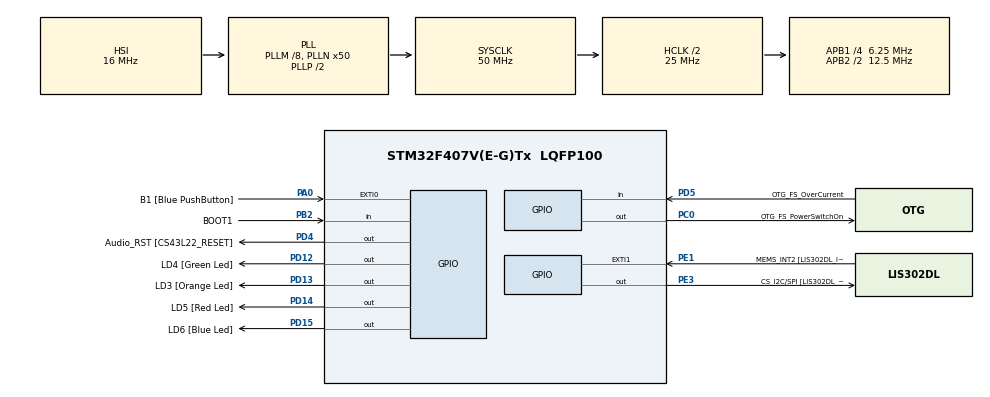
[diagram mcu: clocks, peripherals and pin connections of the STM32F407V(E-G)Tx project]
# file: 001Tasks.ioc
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Mcu.Family=STM32F4
Mcu.Name=STM32F407V(E-G)Tx
Mcu.Package=LQFP100
NVIC.PriorityGroup=NVIC_PRIORITYGROUP_4
NVIC.TIM6_DAC_IRQn=true\:0\:0\:false\:false\:true\:false\:true\:true
NVIC.TimeBase=TIM6_DAC_IRQn
NVIC.TimeBaseIP=TIM6
PA0-WKUP.GPIO_Label=B1 [Blue PushButton]
PA0-WKUP.Signal=GPXTI0
PA10.GPIO_Label=OTG_FS_ID
PA10.GPIO_Mode=GPIO_MODE_AF_PP
PA10.GPIO_PuPd=GPIO_NOPULL
PA10.GPIO_Speed=GPIO_SPEED_FREQ_LOW
PA10.Signal=USB_OTG_FS_ID
PA11.GPIO_Label=OTG_FS_DM
PA11.GPIO_Mode=GPIO_MODE_AF_PP
PA11.GPIO_PuPd=GPIO_NOPULL
PA11.GPIO_Speed=GPIO_SPEED_FREQ_LOW
PA11.Signal=USB_OTG_FS_DM
PA12.GPIO_Label=OTG_FS_DP
PA12.GPIO_Mode=GPIO_MODE_AF_PP
PA12.GPIO_PuPd=GPIO_NOPULL
PA12.GPIO_Speed=GPIO_SPEED_FREQ_LOW
PA12.Signal=USB_OTG_FS_DP
PA13.GPIO_Label=SWDIO
PA13.Signal=SYS_JTMS-SWDIO
PA14.GPIO_Label=SWCLK
PA14.Signal=SYS_JTCK-SWCLK
PA4.GPIO_Label=I2S3_WS [CS43L22_LRCK]
PA4.GPIO_Mode=GPIO_MODE_AF_PP
PA4.GPIO_PuPd=GPIO_NOPULL
PA4.GPIO_Speed=GPIO_SPEED_FREQ_LOW
PA4.Signal=I2S3_WS
PA5.GPIO_Label=SPI1_SCK [LIS302DL_SCL/SPC]
PA5.GPIO_Mode=GPIO_MODE_AF_PP
PA5.GPIO_PuPd=GPIO_NOPULL
PA5.GPIO_Speed=GPIO_SPEED_FREQ_LOW
PA5.Signal=SPI1_SCK
PA6.GPIO_Label=SPI1_MISO [LIS302DL_SDO]
PA6.GPIO_Mode=GPIO_MODE_AF_PP
PA6.GPIO_PuPd=GPIO_NOPULL
PA6.GPIO_Speed=GPIO_SPEED_FREQ_LOW
PA6.Signal=SPI1_MISO
PA7.GPIO_Label=SPI1_MOSI [LIS302DL_SDA/SDI/SDO]
PA7.GPIO_Mode=GPIO_MODE_AF_PP
PA7.GPIO_PuPd=GPIO_NOPULL
PA7.GPIO_Speed=GPIO_SPEED_FREQ_LOW
PA7.Signal=SPI1_MOSI
PA9.GPIO_Label=VBUS_FS
PA9.GPIO_Mode=GPIO_MODE_INPUT
PA9.GPIO_PuPd=GPIO_NOPULL
PA9.Signal=USB_OTG_FS_VBUS
PB10.GPIO_Label=CLK_IN [MP45DT02_CLK]
PB10.GPIO_Mode=GPIO_MODE_AF_PP
PB10.GPIO_PuPd=GPIO_NOPULL
PB10.GPIO_Speed=GPIO_SPEED_FREQ_LOW
PB10.Signal=I2S2_CK
PB2.GPIO_Label=BOOT1
PB2.GPIO_Mode=GPIO_MODE_INPUT
PB2.GPIO_PuPd=GPIO_NOPULL
PB2.Signal=GPIO_Input
PB3.GPIO_Label=SWO
PB3.Signal=SYS_JTDO-SWO
PB6.GPIO_Label=Audio_SCL [CS43L22_SCL]
PB6.GPIO_Mode=GPIO_MODE_AF_OD
PB6.GPIO_PuPd=GPIO_NOPULL
PB6.GPIO_Speed=GPIO_SPEED_FREQ_LOW
PB6.Signal=I2C1_SCL
PB9.GPIO_Label=Audio_SDA [CS43L22_SDA]
PB9.GPIO_Mode=GPIO_MODE_AF_OD
PB9.GPIO_PuPd=GPIO_NOPULL
PB9.GPIO_Speed=GPIO_SPEED_FREQ_LOW
PB9.Signal=I2C1_SDA
PC0.GPIO_Label=OTG_FS_PowerSwitchOn
PC0.GPIO_PuPd=GPIO_NOPULL
PC0.GPIO_Speed=GPIO_SPEED_FREQ_LOW
PC0.PinState=GPIO_PIN_SET
PC0.Signal=GPIO_Output
PC10.GPIO_Label=I2S3_SCK [CS43L22_SCLK]
PC10.GPIO_Mode=GPIO_MODE_AF_PP
PC10.GPIO_PuPd=GPIO_NOPULL
PC10.GPIO_Speed=GPIO_SPEED_FREQ_LOW
PC10.Signal=I2S3_CK
PC12.GPIO_Label=I2S3_SD [CS43L22_SDIN]
PC12.GPIO_Mode=GPIO_MODE_AF_PP
PC12.GPIO_PuPd=GPIO_NOPULL
PC12.GPIO_Speed=GPIO_SPEED_FREQ_LOW
PC12.Signal=I2S3_SD
PC14-OSC32_IN.GPIO_Label=PC14-OSC32_IN
PC14-OSC32_IN.Signal=RCC_OSC32_IN
PC15-OSC32_OUT.GPIO_Label=PC15-OSC32_OUT
PC15-OSC32_OUT.Signal=RCC_OSC32_OUT
PC3.GPIO_Label=PDM_OUT [MP45DT02_DOUT]
PC3.GPIO_Mode=GPIO_MODE_AF_PP
PC3.GPIO_PuPd=GPIO_NOPULL
PC3.GPIO_Speed=GPIO_SPEED_FREQ_LOW
PC3.Signal=I2S2_SD
PC7.GPIO_Label=I2S3_MCK [CS43L22_MCLK]
PC7.GPIO_Mode=GPIO_MODE_AF_PP
PC7.GPIO_PuPd=GPIO_NOPULL
PC7.GPIO_Speed=GPIO_SPEED_FREQ_LOW
PC7.Signal=I2S3_MCK
PD12.GPIO_Label=LD4 [Green Led]
PD12.GPIO_PuPd=GPIO_NOPULL
PD12.GPIO_Speed=GPIO_SPEED_FREQ_LOW
PD12.Signal=GPIO_Output
PD13.GPIO_Label=LD3 [Orange Led]
PD13.GPIO_PuPd=GPIO_NOPULL
PD13.GPIO_Speed=GPIO_SPEED_FREQ_LOW
PD13.Signal=GPIO_Output
PD14.GPIO_Label=LD5 [Red Led]
PD14.GPIO_PuPd=GPIO_NOPULL
PD14.GPIO_Speed=GPIO_SPEED_FREQ_LOW
PD14.Signal=GPIO_Output
PD15.GPIO_Label=LD6 [Blue Led]
PD15.GPIO_PuPd=GPIO_NOPULL
PD15.GPIO_Speed=GPIO_SPEED_FREQ_LOW
PD15.Signal=GPIO_Output
PD4.GPIO_Label=Audio_RST [CS43L22_RESET]
PD4.GPIO_PuPd=GPIO_NOPULL
PD4.GPIO_Speed=GPIO_SPEED_FREQ_LOW
PD4.Signal=GPIO_Output
PD5.GPIO_Label=OTG_FS_OverCurrent
PD5.GPIO_Mode=GPIO_MODE_INPUT
PD5.GPIO_PuPd=GPIO_NOPULL
PD5.Signal=GPIO_Input
PE1.GPIO_Label=MEMS_INT2 [LIS302DL_INT2]
PE1.GPIO_ModeDefaultEXTI=GPIO_MODE_EVT_RISING
PE1.GPIO_PuPd=GPIO_NOPULL
PE1.Signal=GPXTI1
PE3.GPIO_Label=CS_I2C/SPI [LIS302DL_CS_I2C/SPI]
PE3.GPIO_PuPd=GPIO_NOPULL
PE3.GPIO_Speed=GPIO_SPEED_FREQ_LOW
PE3.Signal=GPIO_Output
PH0-OSC_IN.GPIO_Label=PH0-OSC_IN
PH0-OSC_IN.Signal=RCC_OSC_IN
PH1-OSC_OUT.GPIO_Label=PH1-OSC_OUT
PH1-OSC_OUT.Signal=RCC_OSC_OUT
ProjectManager.HeapSize=0x200
ProjectManager.StackSize=0x400
ProjectManager.TargetToolchain=STM32CubeIDE
RCC.48MHZClocksFreq_Value=14285714.285714285
RCC.AHBCLKDivider=RCC_SYSCLK_DIV2
RCC.AHBFreq_Value=25000000
RCC.APB1CLKDivider=RCC_HCLK_DIV4
RCC.APB1Freq_Value=6250000
RCC.APB1TimFreq_Value=12500000
RCC.APB2CLKDivider=RCC_HCLK_DIV2
RCC.APB2Freq_Value=12500000
RCC.APB2TimFreq_Value=25000000
RCC.CortexFreq_Value=25000000
RCC.HCLKFreq_Value=25000000
RCC.HSE_VALUE=8000000
RCC.HSI_VALUE=16000000
RCC.LSE_VALUE=32768
RCC.PLLM=8
RCC.PLLN=50
RCC.PLLQ=7
RCC.SYSCLKFreq_VALUE=50000000
RCC.SYSCLKSource=RCC_SYSCLKSOURCE_PLLCLK
RCC.VCOOutputFreq_Value=100000000
VP_SYS_VS_tim6.Mode=TIM6
board=STM32F407G-DISC1

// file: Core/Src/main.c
/* USER CODE BEGIN Header */
/**
  ******************************************************************************
  * @file           : main.c
  * @brief          : Main program body
  ******************************************************************************
  * @attention
  *
  * Copyright (c) 2024 STMicroelectronics.
  * All rights reserved.
  *
  * This software is licensed under terms that can be found in the LICENSE file
  * in the root directory of this software component.
  * If no LICENSE file comes with this software, it is provided AS-IS.
  *
  ******************************************************************************
  */
/* USER CODE END Header */
#include "main.h"

/* USER CODE BEGIN Includes */
#include <stdio.h>
#include "FreeRTOS.h"
#include "task.h"
/* USER CODE END Includes */

/* USER CODE BEGIN PV */
#define DWT_CTRL		(*(volatile uint32_t*)(0xE0001000))
/* USER CODE END PV */

void SystemClock_Config(void);
static void MX_GPIO_Init(void);
/* USER CODE BEGIN PFP */
static void task1_handler(void* parameters);
static void task2_handler(void* parameters);
/* USER CODE END PFP */

int main(void)
{

  /* USER CODE BEGIN 1 */
  TaskHandle_t task1_handle;
  TaskHandle_t task2_handle;

  BaseType_t  stastus;
  /* USER CODE END 1 */

  /* MCU Configuration--------------------------------------------------------*/

  /* Reset of all peripherals, Initializes the Flash interface and the Systick. */
  HAL_Init();

  /* Configure the system clock */
  SystemClock_Config();

  /* Initialize all configured peripherals */
  MX_GPIO_Init();
  /* USER CODE BEGIN 2 */

  // Enable the CYCCNT counter
  DWT_CTRL |= (1 << 0);

  SEGGER_UART_init(500000);

  SEGGER_SYSVIEW_Conf();

  //SEGGER_SYSVIEW_Start();

  stastus = xTaskCreate(task1_handler, "Task-1", 200, "Hello World from Task-1", 2, &task1_handle);
  configASSERT(stastus == pdPASS);

  xTaskCreate(task2_handler, "Task-2", 200, "Hello World from Task-2", 2, &task2_handle);
  configASSERT(stastus == pdPASS);

  // start the freeRTOS scheduler
  vTaskStartScheduler();

  // if the control comes here, then the launch of the scheduler has failed due to
  // insufficient memory in the heap

  /* USER CODE END 2 */

  /* Infinite loop */
  while (1)
  {

  }
}

void SystemClock_Config(void)
{
  RCC_OscInitTypeDef RCC_OscInitStruct = {0};
  RCC_ClkInitTypeDef RCC_ClkInitStruct = {0};

  /** Configure the main internal regulator output voltage
  */
  __HAL_RCC_PWR_CLK_ENABLE();
  __HAL_PWR_VOLTAGESCALING_CONFIG(PWR_REGULATOR_VOLTAGE_SCALE1);

  /** Initializes the RCC Oscillators according to the specified parameters
  * in the RCC_OscInitTypeDef structure.
  */
  RCC_OscInitStruct.OscillatorType = RCC_OSCILLATORTYPE_HSI;
  RCC_OscInitStruct.HSIState = RCC_HSI_ON;
  RCC_OscInitStruct.HSICalibrationValue = RCC_HSICALIBRATION_DEFAULT;
  RCC_OscInitStruct.PLL.PLLState = RCC_PLL_ON;
  RCC_OscInitStruct.PLL.PLLSource = RCC_PLLSOURCE_HSI;
  RCC_OscInitStruct.PLL.PLLM = 8;
  RCC_OscInitStruct.PLL.PLLN = 50;
  RCC_OscInitStruct.PLL.PLLP = RCC_PLLP_DIV2;
  RCC_OscInitStruct.PLL.PLLQ = 7;
  if (HAL_RCC_OscConfig(&RCC_OscInitStruct) != HAL_OK)
  {
    Error_Handler();
  }

  /** Initializes the CPU, AHB and APB buses clocks
  */
  RCC_ClkInitStruct.ClockType = RCC_CLOCKTYPE_HCLK|RCC_CLOCKTYPE_SYSCLK
                              |RCC_CLOCKTYPE_PCLK1|RCC_CLOCKTYPE_PCLK2;
  RCC_ClkInitStruct.SYSCLKSource = RCC_SYSCLKSOURCE_PLLCLK;
  RCC_ClkInitStruct.AHBCLKDivider = RCC_SYSCLK_DIV2;
  RCC_ClkInitStruct.APB1CLKDivider = RCC_HCLK_DIV4;
  RCC_ClkInitStruct.APB2CLKDivider = RCC_HCLK_DIV2;

  if (HAL_RCC_ClockConfig(&RCC_ClkInitStruct, FLASH_LATENCY_0) != HAL_OK)
  {
    Error_Handler();
  }
}

static void MX_GPIO_Init(void)
{
  GPIO_InitTypeDef GPIO_InitStruct = {0};

  /* GPIO Ports Clock Enable */
  __HAL_RCC_GPIOE_CLK_ENABLE();
  __HAL_RCC_GPIOC_CLK_ENABLE();
  __HAL_RCC_GPIOH_CLK_ENABLE();
  __HAL_RCC_GPIOA_CLK_ENABLE();
  __HAL_RCC_GPIOB_CLK_ENABLE();
  __HAL_RCC_GPIOD_CLK_ENABLE();

  /*Configure GPIO pin Output Level */
  HAL_GPIO_WritePin(CS_I2C_SPI_GPIO_Port, CS_I2C_SPI_Pin, GPIO_PIN_RESET);

  /*Configure GPIO pin Output Level */
  HAL_GPIO_WritePin(OTG_FS_PowerSwitchOn_GPIO_Port, OTG_FS_PowerSwitchOn_Pin, GPIO_PIN_SET);

  /*Configure GPIO pin Output Level */
  HAL_GPIO_WritePin(GPIOD, LD4_Pin|LD3_Pin|LD5_Pin|LD6_Pin
                          |Audio_RST_Pin, GPIO_PIN_RESET);

  /*Configure GPIO pin : CS_I2C_SPI_Pin */
  GPIO_InitStruct.Pin = CS_I2C_SPI_Pin;
  GPIO_InitStruct.Mode = GPIO_MODE_OUTPUT_PP;
  GPIO_InitStruct.Pull = GPIO_NOPULL;
  GPIO_InitStruct.Speed = GPIO_SPEED_FREQ_LOW;
  HAL_GPIO_Init(CS_I2C_SPI_GPIO_Port, &GPIO_InitStruct);

  /*Configure GPIO pin : OTG_FS_PowerSwitchOn_Pin */
  GPIO_InitStruct.Pin = OTG_FS_PowerSwitchOn_Pin;
  GPIO_InitStruct.Mode = GPIO_MODE_OUTPUT_PP;
  GPIO_InitStruct.Pull = GPIO_NOPULL;
  GPIO_InitStruct.Speed = GPIO_SPEED_FREQ_LOW;
  HAL_GPIO_Init(OTG_FS_PowerSwitchOn_GPIO_Port, &GPIO_InitStruct);

  /*Configure GPIO pin : PDM_OUT_Pin */
  GPIO_InitStruct.Pin = PDM_OUT_Pin;
  GPIO_InitStruct.Mode = GPIO_MODE_AF_PP;
  GPIO_InitStruct.Pull = GPIO_NOPULL;
  GPIO_InitStruct.Speed = GPIO_SPEED_FREQ_LOW;
  GPIO_InitStruct.Alternate = GPIO_AF5_SPI2;
  HAL_GPIO_Init(PDM_OUT_GPIO_Port, &GPIO_InitStruct);

  /*Configure GPIO pin : B1_Pin */
  GPIO_InitStruct.Pin = B1_Pin;
  GPIO_InitStruct.Mode = GPIO_MODE_IT_RISING;
  GPIO_InitStruct.Pull = GPIO_NOPULL;
  HAL_GPIO_Init(B1_GPIO_Port, &GPIO_InitStruct);

  /*Configure GPIO pin : I2S3_WS_Pin */
  GPIO_InitStruct.Pin = I2S3_WS_Pin;
  GPIO_InitStruct.Mode = GPIO_MODE_AF_PP;
  GPIO_InitStruct.Pull = GPIO_NOPULL;
  GPIO_InitStruct.Speed = GPIO_SPEED_FREQ_LOW;
  GPIO_InitStruct.Alternate = GPIO_AF6_SPI3;
  HAL_GPIO_Init(I2S3_WS_GPIO_Port, &GPIO_InitStruct);

  /*Configure GPIO pins : SPI1_SCK_Pin SPI1_MISO_Pin SPI1_MOSI_Pin */
  GPIO_InitStruct.Pin = SPI1_SCK_Pin|SPI1_MISO_Pin|SPI1_MOSI_Pin;
  GPIO_InitStruct.Mode = GPIO_MODE_AF_PP;
  GPIO_InitStruct.Pull = GPIO_NOPULL;
  GPIO_InitStruct.Speed = GPIO_SPEED_FREQ_LOW;
  GPIO_InitStruct.Alternate = GPIO_AF5_SPI1;
  HAL_GPIO_Init(GPIOA, &GPIO_InitStruct);

  /*Configure GPIO pin : BOOT1_Pin */
  GPIO_InitStruct.Pin = BOOT1_Pin;
  GPIO_InitStruct.Mode = GPIO_MODE_INPUT;
  GPIO_InitStruct.Pull = GPIO_NOPULL;
  HAL_GPIO_Init(BOOT1_GPIO_Port, &GPIO_InitStruct);

  /*Configure GPIO pin : CLK_IN_Pin */
  GPIO_InitStruct.Pin = CLK_IN_Pin;
  GPIO_InitStruct.Mode = GPIO_MODE_AF_PP;
  GPIO_InitStruct.Pull = GPIO_NOPULL;
  GPIO_InitStruct.Speed = GPIO_SPEED_FREQ_LOW;
  GPIO_InitStruct.Alternate = GPIO_AF5_SPI2;
  HAL_GPIO_Init(CLK_IN_GPIO_Port, &GPIO_InitStruct);

  /*Configure GPIO pins : LD4_Pin LD3_Pin LD5_Pin LD6_Pin
                           Audio_RST_Pin */
  GPIO_InitStruct.Pin = LD4_Pin|LD3_Pin|LD5_Pin|LD6_Pin
                          |Audio_RST_Pin;
  GPIO_InitStruct.Mode = GPIO_MODE_OUTPUT_PP;
  GPIO_InitStruct.Pull = GPIO_NOPULL;
  GPIO_InitStruct.Speed = GPIO_SPEED_FREQ_LOW;
  HAL_GPIO_Init(GPIOD, &GPIO_InitStruct);

  /*Configure GPIO pins : I2S3_MCK_Pin I2S3_SCK_Pin I2S3_SD_Pin */
  GPIO_InitStruct.Pin = I2S3_MCK_Pin|I2S3_SCK_Pin|I2S3_SD_Pin;
  GPIO_InitStruct.Mode = GPIO_MODE_AF_PP;
  GPIO_InitStruct.Pull = GPIO_NOPULL;
  GPIO_InitStruct.Speed = GPIO_SPEED_FREQ_LOW;
  GPIO_InitStruct.Alternate = GPIO_AF6_SPI3;
  HAL_GPIO_Init(GPIOC, &GPIO_InitStruct);

  /*Configure GPIO pin : VBUS_FS_Pin */
  GPIO_InitStruct.Pin = VBUS_FS_Pin;
  GPIO_InitStruct.Mode = GPIO_MODE_INPUT;
  GPIO_InitStruct.Pull = GPIO_NOPULL;
  HAL_GPIO_Init(VBUS_FS_GPIO_Port, &GPIO_InitStruct);

  /*Configure GPIO pins : OTG_FS_ID_Pin OTG_FS_DM_Pin OTG_FS_DP_Pin */
  GPIO_InitStruct.Pin = OTG_FS_ID_Pin|OTG_FS_DM_Pin|OTG_FS_DP_Pin;
  GPIO_InitStruct.Mode = GPIO_MODE_AF_PP;
  GPIO_InitStruct.Pull = GPIO_NOPULL;
  GPIO_InitStruct.Speed = GPIO_SPEED_FREQ_LOW;
  GPIO_InitStruct.Alternate = GPIO_AF10_OTG_FS;
  HAL_GPIO_Init(GPIOA, &GPIO_InitStruct);

  /*Configure GPIO pin : OTG_FS_OverCurrent_Pin */
  GPIO_InitStruct.Pin = OTG_FS_OverCurrent_Pin;
  GPIO_InitStruct.Mode = GPIO_MODE_INPUT;
  GPIO_InitStruct.Pull = GPIO_NOPULL;
  HAL_GPIO_Init(OTG_FS_OverCurrent_GPIO_Port, &GPIO_InitStruct);

  /*Configure GPIO pins : Audio_SCL_Pin Audio_SDA_Pin */
  GPIO_InitStruct.Pin = Audio_SCL_Pin|Audio_SDA_Pin;
  GPIO_InitStruct.Mode = GPIO_MODE_AF_OD;
  GPIO_InitStruct.Pull = GPIO_NOPULL;
  GPIO_InitStruct.Speed = GPIO_SPEED_FREQ_LOW;
  GPIO_InitStruct.Alternate = GPIO_AF4_I2C1;
  HAL_GPIO_Init(GPIOB, &GPIO_InitStruct);

  /*Configure GPIO pin : MEMS_INT2_Pin */
  GPIO_InitStruct.Pin = MEMS_INT2_Pin;
  GPIO_InitStruct.Mode = GPIO_MODE_EVT_RISING;
  GPIO_InitStruct.Pull = GPIO_NOPULL;
  HAL_GPIO_Init(MEMS_INT2_GPIO_Port, &GPIO_InitStruct);

}

/* USER CODE BEGIN 4 */
static void task1_handler(void* parameters)
{
	char msg[100];
	while(1)
	{
//		snprintf(msg, 100, "%s\n", (char*)parameters);
//		SEGGER_SYSVIEW_PrintfTarget(msg);
		printf("%s\n", (char*)parameters);
		taskYIELD();
	}
}

static void task2_handler(void* parameters)
{
	char msg[100];
	while(1)
	{
		printf("%s\n", (char*)parameters);
//		snprintf(msg, 100, "%s\n", (char*)parameters);
//		SEGGER_SYSVIEW_PrintfTarget(msg);
		taskYIELD();
	}
}
/* USER CODE END 4 */

void HAL_TIM_PeriodElapsedCallback(TIM_HandleTypeDef *htim)
{
  if (htim->Instance == TIM6) {
    HAL_IncTick();
  }
}

void Error_Handler(void)
{
  __disable_irq();
  while (1)
  {
  }
}
